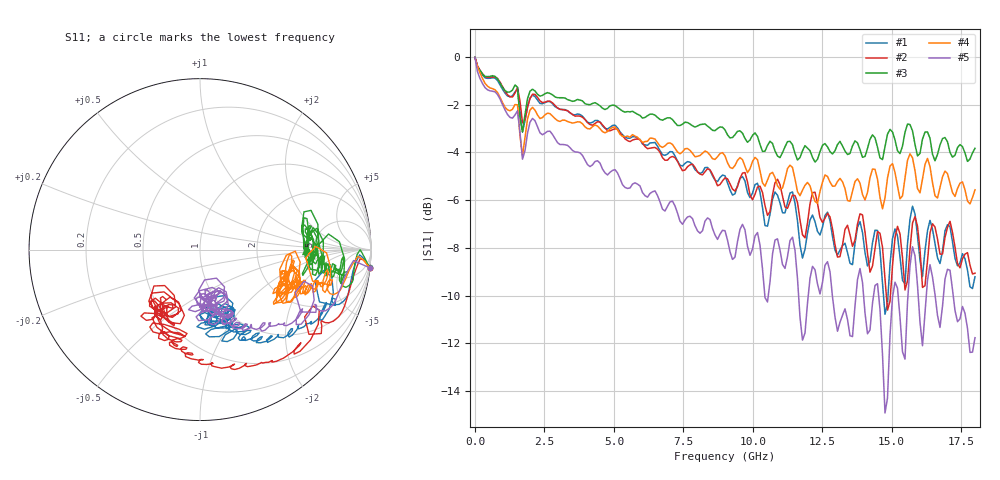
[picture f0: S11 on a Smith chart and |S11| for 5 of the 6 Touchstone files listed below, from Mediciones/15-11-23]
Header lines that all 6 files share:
!Keysight Technologies N9917A: A.12.46
!TimeZone: (UTC-03:00) Buenos Aires!Model: N9917A
!Serial: MY56072049
!GPS Latitude:
!GPS Longitude:
!GPS TimeStamp: 0001-01-01 00:00:00Z
!GPS Seconds Since Last Read: 0
!Correction: S11(Rdy)
!S1P File: Measurement: S11:
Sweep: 30 kHz to 18 GHz
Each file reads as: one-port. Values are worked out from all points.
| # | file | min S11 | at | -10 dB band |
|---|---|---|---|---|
| 1 | Abs_Diluido.s1p | -10.8 dB | 14.76 GHz | 162.3 MHz wide |
| 2 | Acetona.s1p | -10.6 dB | 14.85 GHz | 145.8 MHz wide |
| 3 | Aire.s1p | -4.4 dB | 12.24 GHz | - |
| 4 | Alcohol.s1p | -6.4 dB | 14.67 GHz | - |
| 5 | Dedo.s1p | -14.9 dB | 14.76 GHz | 849.8 MHz wide |
| 6 | Pla.s1p | -4.4 dB | 12.24 GHz | - |
